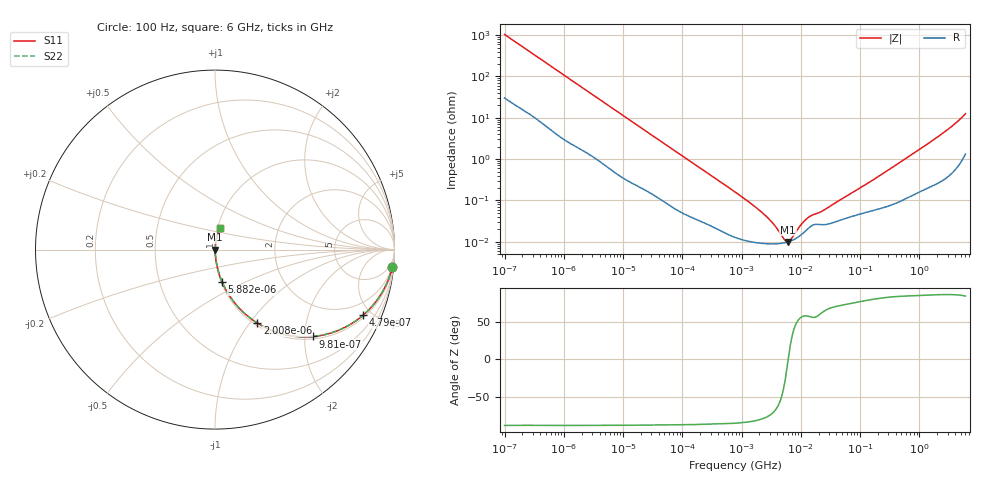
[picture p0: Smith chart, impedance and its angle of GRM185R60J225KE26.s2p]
!Murata Part Number: GRM185R60J225KE26
!These Parameters are Measured in Series Mode Connection
!Data Generated on Mar 30, 2021
!  o--ll--o
!Port1  Port2
!  o------o
!Operation Temp=25[degC], DC Bias Voltage=0[V]
!Freq. Start=100[Hz] Stop=6[GHz] 401[Steps]
# Hz S RI R 50
!Freq.(Hz) S11(Real) S11(Imag) S21(Real) S21(Imag) S12(Real) S12(Imag) S22(Real) S22(Imag)
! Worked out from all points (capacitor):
!   401 points, 100 Hz to 6 GHz, reference 50 ohm
!   read as one part in series: C = 1.53 uF near 109 Hz
!   lowest |Z| = 9.91 mohm at 6.075 MHz (marker M1)
!   series resonance near 6.13 MHz, so ESL is about 440 pH
!   S11 on the Smith chart (normalised r, x): 100 Hz: 2, -21; 479 Hz: 1.13, -4.46; 981 Hz: 1.06, -2.21; 2.008 kHz: 1.03, -1.09; 5.882 kHz: 1.01, -0.38; 6 GHz: 1.03, +0.25
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100  0.9881 -0.0949  0.0119 0.0949  0.0119 0.0949  0.9881 -0.0949
245  0.943 -0.2172  0.057 0.2172  0.057 0.2172  0.943 -0.2172
479  0.8259 -0.3649  0.1741 0.3649  0.1741 0.3649  0.8259 -0.3649
981  0.5476 -0.4842  0.4524 0.4842  0.4524 0.4842  0.5476 -0.4842
1342  0.399 -0.4757  0.601 0.4757  0.601 0.4757  0.399 -0.4757
2008  0.236 -0.4097  0.764 0.4097  0.764 0.4097  0.236 -0.4097
3287  0.1095 -0.2967  0.8905 0.2967  0.8905 0.2967  0.1095 -0.2967
5882  0.0402 -0.1818  0.9598 0.1818  0.9598 0.1818  0.0402 -0.1818
13772  0.00935 -0.0815  0.9906 0.0815  0.9906 0.0815  0.00935 -0.0815
40335  0.00194 -0.0288  0.9981 0.0288  0.9981 0.0288  0.00194 -0.0288
774597  0.00013 -0.00159  0.9999 0.00159  0.9999 0.00159  0.00013 -0.00159
2481164  8.99e-05 -0.000431  0.9999 0.000431  0.9999 0.000431  8.99e-05 -0.000431
3549919  8.84e-05 -0.000241  0.9999 0.000241  0.9999 0.000241  8.84e-05 -0.000241
5311619  9.42e-05 -6.04e-05  0.9999 6.04e-05  0.9999 6.04e-05  9.42e-05 -6.04e-05
6075234  9.9e-05 -3.7e-06  0.9999 3.7e-06  0.9999 3.7e-06  9.9e-05 -3.7e-06
6948629  0.000106 5.28e-05  0.9999 -5.28e-05  0.9999 -5.28e-05  0.000106 5.28e-05
1.087309e7  0.000159 0.000245  0.9998 -0.000245  0.9998 -0.000245  0.000159 0.000245
1.555665e7  0.000247 0.000362  0.9998 -0.000362  0.9998 -0.000362  0.000247 0.000362
2.434276e7  0.000258 0.000516  0.9997 -0.000516  0.9997 -0.000516  0.000258 0.000516
3.124326e8  0.000772 0.00558  0.9992 -0.00558  0.9992 -0.00558  0.000772 0.00558
2.240541e9  0.00417 0.0374  0.9958 -0.0374  0.9958 -0.0374  0.00417 0.0374
6e9  0.0277 0.1194  0.9723 -0.1194  0.9723 -0.1194  0.0277 0.1194
